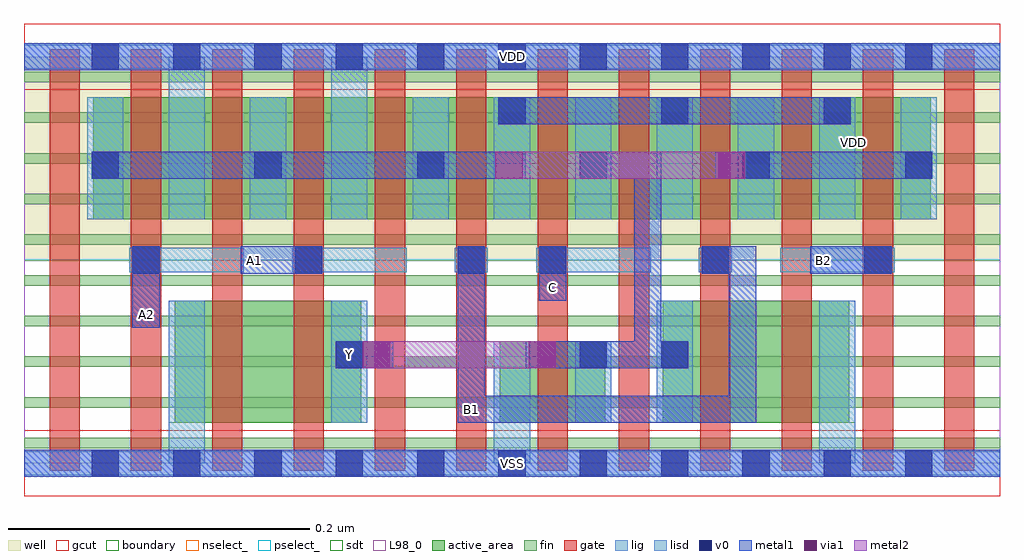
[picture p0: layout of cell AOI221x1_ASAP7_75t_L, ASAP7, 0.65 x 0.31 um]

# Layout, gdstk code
import gdstk
lib = gdstk.Library(unit=1e-6, precision=2.5e-10)
def R(c, l, rs):  # rectangles x0, y0, x1, y1
    for r in rs: c.add(gdstk.rectangle(r[:2], r[2:], *l))
def A(c, l, x, y, w, h, nx, ny, dx, dy):  # array of equal rectangles
    R(c, l, [(x+i*dx, y+j*dy, x+i*dx+w, y+j*dy+h) for i in range(nx) for j in range(ny)])
def P(c, l, *ps):  # polygons
    for p in ps: c.add(gdstk.Polygon(p, *l))
well = (1, 0)
fin = (2, 0)
gate = (7, 0)
gcut = (10, 0)
active_area = (11, 0)
nselect_ = (12, 0)
pselect_ = (13, 0)
lig = (16, 0)
lisd = (17, 0)
v0 = (18, 0)
metal1 = (19, 0)
metal2 = (20, 0)
via1 = (21, 0)
sdt = (88, 0)
L98_0 = (98, 0)
boundary = (100, 0)

aoi221x1_asap7_75t_l = lib.new_cell('AOI221x1_ASAP7_75t_L')
R(aoi221x1_asap7_75t_l, well, [(0,0.135,0.648,0.27)])
A(aoi221x1_asap7_75t_l, fin, 0, 0.01, 0.648, 0.007, 1, 10, 0, 0.027)
A(aoi221x1_asap7_75t_l, gate, 0.017, -0.005, 0.02, 0.28, 12, 1, 0.054, 0)
R(aoi221x1_asap7_75t_l, gcut, [(0,-0.022,0.648,0.022), (0,0.248,0.648,0.292)])
R(aoi221x1_asap7_75t_l, active_area, [(0.1,0.027,0.224,0.108), (0.316,0.027,0.386,0.081), (0.424,0.027,0.548,0.108), (0.046,0.162,0.602,0.243)])
R(aoi221x1_asap7_75t_l, nselect_, [(0,0,0.648,0.135)])
R(aoi221x1_asap7_75t_l, pselect_, [(0,0.135,0.648,0.27)])
A(aoi221x1_asap7_75t_l, lig, 0.178, 0.127, 0.076, 0.016, 3, 1, 0.162, 0)
R(aoi221x1_asap7_75t_l, lig, [(0,-0.008,0.648,0.008), (0.07,0.127,0.146,0.143), (0.286,0.127,0.308,0.143), (0.448,0.127,0.47,0.143), (0,0.262,0.648,0.278)])
A(aoi221x1_asap7_75t_l, lisd, 0.042, 0.162, 0.024, 0.081, 3, 1, 0.108, 0)
A(aoi221x1_asap7_75t_l, lisd, 0.312, 0.162, 0.024, 0.081, 6, 1, 0.054, 0)
R(aoi221x1_asap7_75t_l, lisd, [(0.096,0,0.12,0.108), (0.312,0,0.336,0.081), (0.528,0,0.552,0.108), (0.204,0.027,0.228,0.108), (0.366,0.027,0.39,0.081), (0.42,0.027,0.444,0.108), (0.096,0.162,0.12,0.27), (0.204,0.162,0.228,0.27)])
A(aoi221x1_asap7_75t_l, v0, 0.045, -0.009, 0.018, 0.018, 11, 2, 0.054, 0.27)
A(aoi221x1_asap7_75t_l, v0, 0.072, 0.126, 0.018, 0.018, 3, 1, 0.108, 0)
A(aoi221x1_asap7_75t_l, v0, 0.342, 0.126, 0.018, 0.018, 3, 1, 0.108, 0)
A(aoi221x1_asap7_75t_l, v0, 0.045, 0.189, 0.018, 0.018, 6, 1, 0.108, 0)
A(aoi221x1_asap7_75t_l, v0, 0.315, 0.225, 0.018, 0.018, 3, 1, 0.108, 0)
R(aoi221x1_asap7_75t_l, v0, [(0.207,0.063,0.225,0.081), (0.369,0.063,0.387,0.081), (0.423,0.063,0.441,0.081)])
R(aoi221x1_asap7_75t_l, metal1, [(0,-0.009,0.648,0.009), (0.207,0.063,0.245,0.081), (0.072,0.09,0.09,0.144), (0.342,0.108,0.36,0.144), (0.144,0.126,0.198,0.144), (0.522,0.126,0.576,0.144), (0.045,0.189,0.333,0.207), (0.459,0.189,0.603,0.207), (0.315,0.225,0.549,0.243), (0,0.261,0.648,0.279)])
P(aoi221x1_asap7_75t_l, metal1, [(0.288,0.027),(0.288,0.144),(0.306,0.144),(0.306,0.045),(0.468,0.045),(0.468,0.126),(0.45,0.126),(0.45,0.144),(0.486,0.144),(0.486,0.027)],
  [(0.333,0.063),(0.333,0.081),(0.405,0.081),(0.405,0.189),(0.369,0.189),(0.369,0.207),(0.423,0.207),(0.423,0.081),(0.441,0.081),(0.441,0.063)])
R(aoi221x1_asap7_75t_l, metal2, [(0.225,0.063,0.353,0.081), (0.313,0.189,0.479,0.207)])
R(aoi221x1_asap7_75t_l, via1, [(0.225,0.063,0.243,0.081), (0.335,0.063,0.353,0.081), (0.313,0.189,0.331,0.207), (0.461,0.189,0.479,0.207)])
A(aoi221x1_asap7_75t_l, sdt, 0.042, 0.162, 0.024, 0.081, 11, 1, 0.054, 0)
R(aoi221x1_asap7_75t_l, sdt, [(0.096,0.027,0.12,0.108), (0.204,0.027,0.228,0.108), (0.312,0.027,0.336,0.081), (0.366,0.027,0.39,0.081), (0.42,0.027,0.444,0.108), (0.528,0.027,0.552,0.108)])
R(aoi221x1_asap7_75t_l, L98_0, [(0,0,0.648,0.27)])
R(aoi221x1_asap7_75t_l, boundary, [(0,0,0.648,0.27)])
aoi221x1_asap7_75t_l.add(gdstk.Label('Y', (0.216,0.072), layer=19, texttype=251))
aoi221x1_asap7_75t_l.add(gdstk.Label('C', (0.351,0.117), layer=19, texttype=251))
aoi221x1_asap7_75t_l.add(gdstk.Label('B2', (0.531,0.135), layer=19, texttype=251))
aoi221x1_asap7_75t_l.add(gdstk.Label('B1', (0.297,0.036), layer=19, texttype=251))
aoi221x1_asap7_75t_l.add(gdstk.Label('A2', (0.081,0.099), layer=19, texttype=251))
aoi221x1_asap7_75t_l.add(gdstk.Label('A1', (0.153,0.135), layer=19, texttype=251))
aoi221x1_asap7_75t_l.add(gdstk.Label('VSS', (0.324,0), layer=19, texttype=251))
aoi221x1_asap7_75t_l.add(gdstk.Label('VDD', (0.324,0.27), layer=19, texttype=251))
aoi221x1_asap7_75t_l.add(gdstk.Label('VDD', (0.551,0.213), layer=1, texttype=251))
aoi221x1_asap7_75t_l.add(gdstk.Label('VSS', (0.745,0.213), layer=3, texttype=251))

lib.write_gds('AOI221x1_ASAP7_75t_L.gds')
